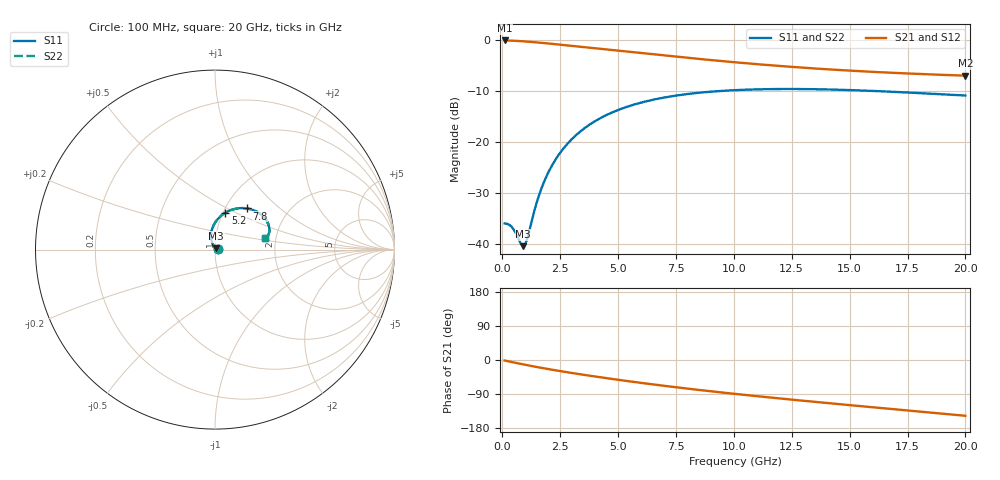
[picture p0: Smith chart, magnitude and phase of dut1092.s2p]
! Touchstone file exported from HFSS 2024.1.0
!  File:  C:/UserFiles/LocalFiles/RDL_TSV_Batchsim/temp_RDL_TSV_1092_1780098083.aedt
!  Generated:  07:53:36 AM May 30, 2026
!  Design:  RDL_TSV
!  Project:  temp_RDL_TSV_1092_1780098083
!  Setup:  Setup1
!  Solution:  Sweep
! Variables:
!  dtsv = 10.95um
!  hbump = 3um
!  htsv = 57.2um
!  ldown = 494.22um
!  lrdl = 150.52um
!  p = 40
!  p1 = 44.48um
!  rhole = 10um
!  subl = 2084.74um
!  t = 450um
!  tdown = 2.46um
!  trdl = 3.17um
!  viad = 10um
!  wdown = 16.69um
!  wrdl = 24.32um
!  xbump = 18um
# GHz S MA R 50.000000
! Terminal data exported
! Port[1] = TM1_1_T1
! Port[2] = TM1_4_T1
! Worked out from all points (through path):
!   200 points, 100 MHz to 20 GHz, reference 50 ohm
!   highest |S21| = -0.14 dB at 100 MHz (marker M1); lowest = -7.0 dB at 20 GHz (marker M2)
!   group delay of S21, straight-line fit = 19.3 ps
!   lowest |S11| = -40.4 dB at 900 MHz (marker M3), VSWR 1.02, Z = 50.6 + j0.763 ohm
!   |S11| at or under -10 dB: start of sweep to 9.521 GHz; 15.91 GHz to end of sweep
!   |S22| runs from -40.4 to -9.6 dB; largest |S21 - S12| = 9.5e-15
!   S11 on the Smith chart (normalised r, x): 100 MHz: 1.03, +0.00; 5.2 GHz: 1.03, +0.44; 7.8 GHz: 1.26, +0.63; 20 GHz: 1.74, +0.25
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0.1  0.01594 2.8  0.9837 -1.3  0.9837 -1.3  0.01594 2.8
! Gamma 0 0 0 0
! Port Impedance 50 0 50 0
0.4  0.01483 9.7  0.9792 -5.3  0.9792 -5.3  0.01483 9.7
0.6  0.01259 17.5  0.9743 -7.8  0.9743 -7.8  0.01259 17.5
0.8  0.0101 36.3  0.9684 -10.3  0.9684 -10.3  0.0101 36.3
0.9  0.009555 52.1  0.9651 -11.5  0.9651 -11.5  0.009554 52.1
1  0.01006 70.0  0.9616 -12.8  0.9616 -12.8  0.01006 70.1
1.1  0.01177 85.6  0.9578 -14.0  0.9578 -14.0  0.01177 85.6
1.4  0.02182 108.0  0.9455 -17.5  0.9455 -17.5  0.02183 108.0
1.6  0.0307 112.0  0.9367 -19.7  0.9367 -19.7  0.03071 112.0
1.8  0.04051 112.6  0.9275 -21.9  0.9275 -21.9  0.04052 112.6
2  0.05093 111.7  0.9182 -24.1  0.9182 -24.1  0.05094 111.7
2.3  0.06726 108.9  0.9039 -27.2  0.9039 -27.2  0.06727 108.9
2.7  0.0896 104.1  0.8849 -31.3  0.8849 -31.3  0.08961 104.1
3.5  0.1336 93.8  0.8477 -38.9  0.8477 -38.9  0.1336 93.8
4.3  0.174 84.1  0.8119 -46.2  0.8119 -46.2  0.174 84.1
5.2  0.2134 74.4  0.7733 -53.9  0.7733 -53.9  0.2135 74.4
6.8  0.2669 59.8  0.7092 -66.7  0.7092 -66.7  0.267 59.8
7.8  0.2904 52.2  0.6726 -74.1  0.6726 -74.1  0.2905 52.2
10.1  0.3215 38.1  0.6003 -89.8  0.6003 -89.8  0.3216 38.1
13.4  0.3283 24.2  0.525 -109.9  0.525 -109.9  0.3284 24.2
16.7  0.3107 16.0  0.4763 -128.7  0.4763 -128.7  0.3108 15.9
20  0.2845 13.1  0.4452 -147.2  0.4452 -147.2  0.2846 13.1
